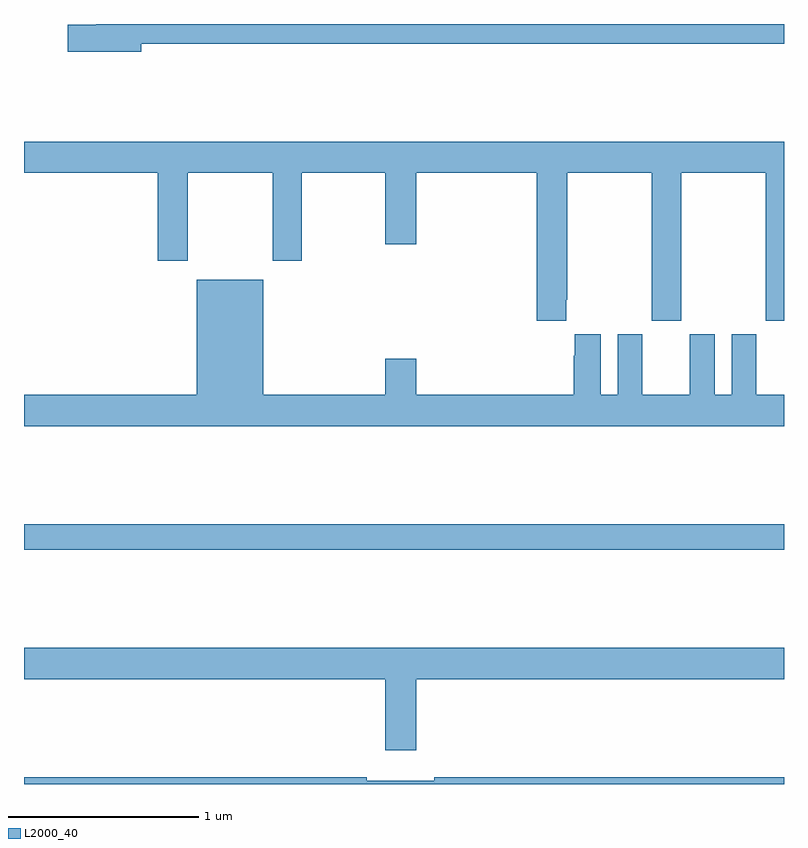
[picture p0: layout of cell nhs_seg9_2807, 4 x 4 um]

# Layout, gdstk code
import gdstk
lib = gdstk.Library(unit=1e-6, precision=1e-09)
def R(c, l, rs):  # rectangles x0, y0, x1, y1
    for r in rs: c.add(gdstk.rectangle(r[:2], r[2:], *l))
def P(c, l, *ps):  # polygons
    for p in ps: c.add(gdstk.Polygon(p, *l))
L2000_40 = (2000, 40)

nhs_seg9_2807 = lib.new_cell('nhs_seg9_2807')
R(nhs_seg9_2807, L2000_40, [(271,1231.732,275,1231.868)])
P(nhs_seg9_2807, L2000_40, [(271.618,1234.396),(275,1234.396),(275,1234.5),(271.379,1234.5),(271.379,1234.496),(271.23,1234.496),(271.23,1234.354),(271.618,1234.354)],
  [(273.853,1233.049),(273.858,1233.049),(273.858,1233.716),(274.303,1233.716),(274.303,1232.937),(274.458,1232.937),(274.458,1233.716),(274.903,1233.716),(274.903,1232.937),(275,1232.937),(275,1233.88),(271,1233.88),(271,1233.716),(271.703,1233.716),(271.703,1233.255),(271.863,1233.255),(271.863,1233.716),(272.308,1233.716),(272.308,1233.255),(272.463,1233.255),(272.463,1233.716),(272.9,1233.716),(272.9,1233.342),(273.064,1233.342),(273.064,1233.716),(273.698,1233.716),(273.698,1232.937),(273.853,1232.937)],
  [(275,1232.548),(274.855,1232.548),(274.855,1232.866),(274.724,1232.866),(274.724,1232.548),(274.636,1232.548),(274.636,1232.866),(274.505,1232.866),(274.505,1232.548),(274.255,1232.548),(274.255,1232.866),(274.124,1232.866),(274.124,1232.548),(274.036,1232.548),(274.036,1232.866),(273.899,1232.866),(273.899,1232.753),(273.893,1232.753),(273.893,1232.548),(273.064,1232.548),(273.064,1232.737),(272.9,1232.737),(272.9,1232.548),(272.26,1232.548),(272.26,1233.154),(271.91,1233.154),(271.91,1232.548),(271,1232.548),(271,1232.384),(275,1232.384)],
  [(273.064,1231.052),(275,1231.052),(275,1231.216),(271,1231.216),(271,1231.052),(272.9,1231.052),(272.9,1230.678),(273.064,1230.678)],
  [(275,1230.536),(273.16,1230.536),(273.16,1230.517),(272.804,1230.517),(272.804,1230.536),(271,1230.536),(271,1230.5),(275,1230.5)])

lib.write_gds('nhs_seg9_2807.gds')
